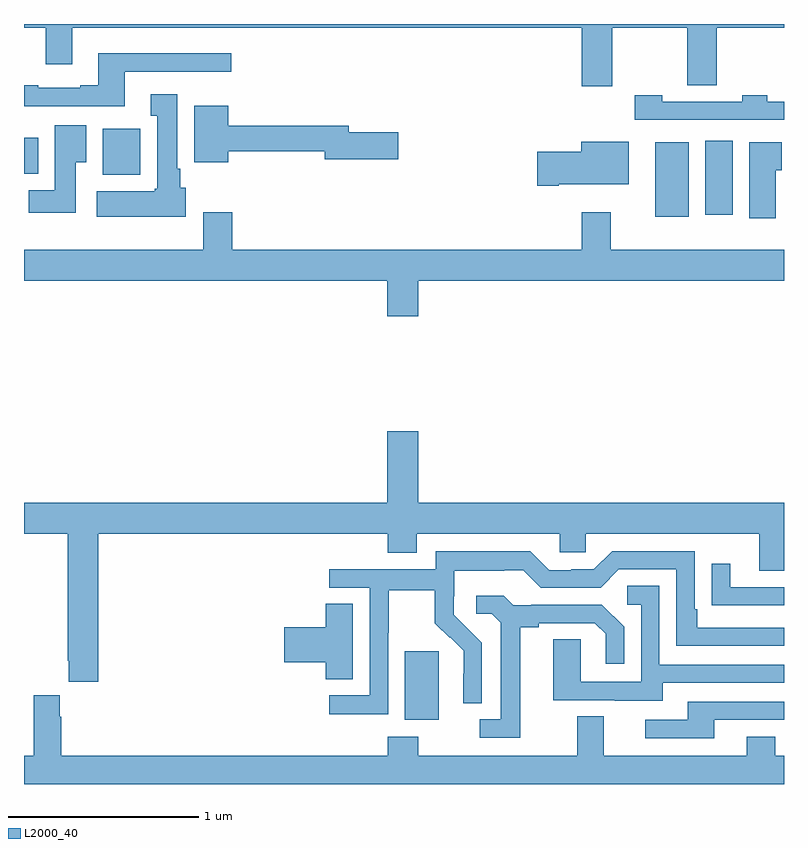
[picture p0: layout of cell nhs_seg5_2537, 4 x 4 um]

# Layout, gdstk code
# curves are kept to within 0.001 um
import gdstk
lib = gdstk.Library(unit=1e-6, precision=1e-09)
def R(c, l, rs):  # rectangles x0, y0, x1, y1
    for r in rs: c.add(gdstk.rectangle(r[:2], r[2:], *l))
def P(c, l, *ps):  # polygons
    for p in ps: c.add(gdstk.Polygon(p, *l))
L2000_40 = (2000, 40)

nhs_seg5_2537 = lib.new_cell('nhs_seg5_2537')
R(nhs_seg5_2537, L2000_40, [(261.005,833.138,261.184,833.499), (262.322,835.784,262.498,836.176), (262.586,835.796,262.729,836.185), (259.415,836.006,259.612,836.248), (259,836.012,259.075,836.2)])
P(nhs_seg5_2537, L2000_40, [(262.095,836.78),(262.492,836.78),(262.492,836.476),(262.646,836.476),(262.646,836.78),(263,836.78),(263,836.799),(259,836.799),(259,836.78),(259.115,836.78),(259.115,836.586),(259.255,836.586),(259.255,836.78),(261.935,836.78),(261.935,836.472),(262.095,836.472)],
  [(259.067,836.367),(259.531,836.367),(259.531,836.547),(260.092,836.547),(260.092,836.644),(259.391,836.644),(259.391,836.476),(259.295,836.476),(259.295,836.463),(259.075,836.463),(259.075,836.476),(259,836.476),(259,836.366),(259.067,836.366)],
  [(259.852,835.938),(259.822,835.938),(259.822,836.038),(259.807,836.038),(259.807,836.428),(259.667,836.428),(259.667,836.315),(259.7,836.315),(259.7,835.932),(259.687,835.932),(259.687,835.918),(259.383,835.918),(259.383,835.784),(259.852,835.784)],
  [(263,836.391),(262.911,836.391),(262.911,836.424),(262.779,836.424),(262.779,836.391),(262.359,836.391),(262.359,836.424),(262.215,836.424),(262.215,836.295),(263,836.295)],
  [(260.074,836.128),(260.582,836.128),(260.582,836.086),(260.971,836.086),(260.971,836.228),(260.71,836.228),(260.71,836.264),(260.074,836.264),(260.074,836.368),(259.895,836.368),(259.895,836.072),(260.074,836.072)],
  [(259.273,836.072),(259.327,836.072),(259.327,836.266),(259.163,836.266),(259.163,835.924),(259.024,835.924),(259.024,835.806),(259.273,835.806)],
  [(261.814,835.955),(262.183,835.955),(262.183,836.179),(261.932,836.179),(261.932,836.126),(261.702,836.126),(261.702,835.948),(261.814,835.948)],
  [(262.957,836.029),(262.987,836.029),(262.987,836.176),(262.817,836.176),(262.817,835.776),(262.957,835.776)],
  [(261.076,835.448),(263,835.448),(263,835.612),(262.087,835.612),(262.087,835.807),(261.935,835.807),(261.935,835.612),(260.096,835.612),(260.096,835.807),(259.943,835.807),(259.943,835.612),(259,835.612),(259,835.448),(260.912,835.448),(260.912,835.26),(261.076,835.26)],
  [(259,834.116),(259.231,834.116),(259.231,833.449),(259.235,833.449),(259.235,833.337),(259.391,833.337),(259.391,834.116),(260.915,834.116),(260.915,834.017),(261.067,834.017),(261.067,834.116),(261.819,834.116),(261.819,834.018),(261.957,834.018),(261.957,834.116),(262.871,834.116),(262.871,833.922),(263,833.922),(263,834.28),(261.076,834.28),(261.076,834.655),(260.912,834.655),(260.912,834.28),(259,834.28)],
  [(260.916,833.596),(260.919,833.596),(260.919,833.82),(261.163,833.82),(261.163,833.645),(261.24,833.568),(261.243,833.571),(261.314,833.501),(261.314,833.378),(261.312,833.378),(261.312,833.224),(261.408,833.224),(261.408,833.542),(261.262,833.69),(261.262,833.787),(261.264,833.787),(261.264,833.921),(261.527,833.921),(261.527,833.925),(261.627,833.925),(261.72,833.832),(262.035,833.832),(262.131,833.928),(262.434,833.928),(262.434,833.526),(263,833.526),(263,833.622),(262.543,833.622),(262.543,833.719),(262.53,833.719),(262.53,834.024),(262.095,834.024),(261.999,833.928),(261.881,833.928),(261.881,833.925),(261.765,833.925),(261.665,834.025),(261.168,834.025),(261.168,833.928),(260.607,833.928),(260.607,833.832),(260.82,833.832),(260.82,833.265),(260.607,833.265),(260.607,833.167),(260.916,833.167)],
  [(263,833.835),(262.717,833.835),(262.717,833.959),(262.621,833.959),(262.621,833.74),(262.723,833.74),(262.723,833.739),(263,833.739)],
  [(262.363,833.331),(263,833.331),(263,833.427),(262.344,833.427),(262.344,833.843),(262.176,833.843),(262.176,833.742),(262.248,833.742),(262.248,833.337),(261.93,833.337),(261.93,833.561),(261.785,833.561),(261.785,833.241),(262.109,833.241),(262.109,833.237),(262.363,833.237)],
  [(261.613,833.624),(261.709,833.624),(261.709,833.646),(262.004,833.646),(262.061,833.589),(262.061,833.433),(262.158,833.433),(262.158,833.626),(262.042,833.742),(261.67,833.742),(261.67,833.739),(261.576,833.739),(261.524,833.791),(261.381,833.791),(261.381,833.694),(261.462,833.694),(261.509,833.647),(261.509,833.139),(261.399,833.139),(261.399,833.043),(261.613,833.043)],
  [(260.731,833.747),(260.588,833.747),(260.588,833.624),(260.37,833.624),(260.37,833.441),(260.588,833.441),(260.588,833.35),(260.731,833.35)],
  [(263,832.948),(262.953,832.948),(262.953,833.047),(262.805,833.047),(262.805,832.948),(262.051,832.948),(262.051,833.156),(261.911,833.156),(261.911,832.948),(261.075,832.948),(261.075,833.047),(260.915,833.047),(260.915,832.948),(259.196,832.948),(259.196,833.153),(259.189,833.153),(259.189,833.266),(259.052,833.266),(259.052,832.948),(259,832.948),(259,832.799),(263,832.799)],
  [(262.633,833.136),(263,833.136),(263,833.232),(262.493,833.232),(262.493,833.136),(262.269,833.136),(262.269,833.04),(262.633,833.04)])

lib.write_gds('nhs_seg5_2537.gds')
